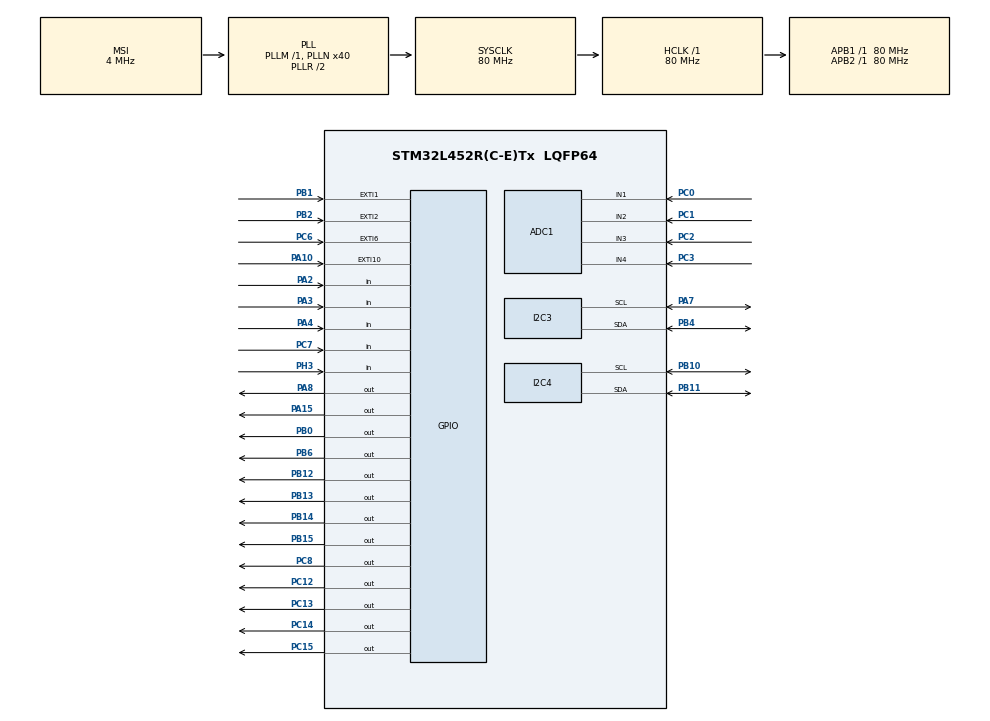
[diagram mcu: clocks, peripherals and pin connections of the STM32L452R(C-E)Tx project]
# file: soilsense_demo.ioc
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ADC1.Channel-0\#ChannelRegularConversion=ADC_CHANNEL_1
ADC1.NbrOfConversionFlag=1
ADC1.OffsetNumber-0\#ChannelRegularConversion=ADC_OFFSET_NONE
ADC1.Rank-0\#ChannelRegularConversion=1
ADC1.SamplingTime-0\#ChannelRegularConversion=ADC_SAMPLETIME_2CYCLES_5
ADC1.master=1
I2C3.Timing=0x10D19CE4
I2C4.Timing=0x10D19CE4
Mcu.Family=STM32L4
Mcu.Name=STM32L452R(C-E)Tx
Mcu.Package=LQFP64
NVIC.EXTI15_10_IRQn=true\:0\:0\:false\:false\:true\:true\:true\:true
NVIC.EXTI1_IRQn=true\:0\:0\:false\:false\:true\:true\:true\:true
NVIC.EXTI2_IRQn=true\:0\:0\:false\:false\:true\:true\:true\:true
NVIC.EXTI9_5_IRQn=true\:0\:0\:false\:false\:true\:true\:true\:true
NVIC.PriorityGroup=NVIC_PRIORITYGROUP_4
NVIC.RTC_Alarm_IRQn=true\:14\:0\:true\:false\:true\:true\:true\:true
PA0.Signal=UART4_TX
PA1.Signal=UART4_RX
PA10.Signal=GPXTI10
PA13\ (JTMS/SWDIO).Signal=SYS_JTMS-SWDIO
PA14\ (JTCK/SWCLK).Signal=SYS_JTCK-SWCLK
PA15\ (JTDI).Signal=GPIO_Output
PA2.Signal=GPIO_Input
PA3.Signal=GPIO_Input
PA4.Signal=GPIO_Input
PA7.Mode=I2C
PA7.Signal=I2C3_SCL
PA8.Signal=GPIO_Output
PB0.Signal=GPIO_Output
PB1.Signal=GPXTI1
PB10.Mode=I2C
PB10.Signal=I2C4_SCL
PB11.Mode=I2C
PB11.Signal=I2C4_SDA
PB12.Signal=GPIO_Output
PB13.Signal=GPIO_Output
PB14.Signal=GPIO_Output
PB15.Signal=GPIO_Output
PB2.Signal=GPXTI2
PB3\ (JTDO/TRACESWO).Signal=SYS_JTDO-SWO
PB4\ (NJTRST).Mode=I2C
PB4\ (NJTRST).Signal=I2C3_SDA
PB6.Signal=GPIO_Output
PC0.Signal=ADCx_IN1
PC1.Signal=ADCx_IN2
PC12.Signal=GPIO_Output
PC13.Signal=GPIO_Output
PC14-OSC32_IN\ (PC14).Signal=GPIO_Output
PC15-OSC32_OUT\ (PC15).Signal=GPIO_Output
PC2.Signal=ADCx_IN3
PC3.Signal=ADCx_IN4
PC6.Signal=GPXTI6
PC7.Signal=GPIO_Input
PC8.Signal=GPIO_Output
PH3-BOOT0\ (BOOT0).Signal=GPIO_Input
ProjectManager.HeapSize=0x200
ProjectManager.StackSize=0x400
ProjectManager.TargetToolchain=STM32CubeIDE
RCC.ADCFreq_Value=48000000
RCC.AHBFreq_Value=80000000
RCC.APB1Freq_Value=80000000
RCC.APB1TimFreq_Value=80000000
RCC.APB2Freq_Value=80000000
RCC.APB2TimFreq_Value=80000000
RCC.CortexFreq_Value=80000000
RCC.HCLKFreq_Value=80000000
RCC.HSE_VALUE=8000000
RCC.HSI48_VALUE=48000000
RCC.HSI_VALUE=16000000
RCC.LSE_VALUE=32768
RCC.MSI_VALUE=4000000
RCC.PLLN=40
RCC.PLLSAI1N=24
RCC.SYSCLKFreq_VALUE=80000000
RCC.SYSCLKSource=RCC_SYSCLKSOURCE_PLLCLK
RCC.USBFreq_Value=48000000
RCC.VCOOutputFreq_Value=160000000
RTC.Alarm-Alarm\ A=RTC_ALARM_A
RTC.Minutes_A-Alarm\ A=1
RTC.Seconds=1
SH.ADCx_IN1.0=ADC1_IN1,IN1-Single-Ended
SH.ADCx_IN2.0=ADC1_IN2,IN2-Single-Ended
SH.ADCx_IN3.0=ADC1_IN3,IN3-Single-Ended
SH.ADCx_IN4.0=ADC1_IN4,IN4-Single-Ended
VP_RTC_VS_RTC_Activate.Mode=RTC_Enabled
VP_RTC_VS_RTC_Alarm_A_Intern.Mode=Alarm A
VP_RTC_VS_RTC_Calendar.Mode=RTC_Calendar
board=custom

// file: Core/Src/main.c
/* USER CODE BEGIN Header */
/**
  ******************************************************************************
  * @file           : main.c
  * @brief          : Main program body
  ******************************************************************************
  * @attention
  *
  * Copyright (c) 2024 STMicroelectronics.
  * All rights reserved.
  *
  * This software is licensed under terms that can be found in the LICENSE file
  * in the root directory of this software component.
  * If no LICENSE file comes with this software, it is provided AS-IS.
  *
  ******************************************************************************
  */
/* USER CODE END Header */
#include "main.h"

/* USER CODE BEGIN Includes */
#include "adc.h"
#include "dht.h"
#include "light_sensor.h"
#include "moisture_sensor.h"
#include "plant_database.h"
#include "setup.h"
#include "temp_rh_sensor.h"
#include "user_interaction.h"
#include "veml7700.h"
#include "liquidcrystal_i2c.h"
#include <stdio.h>

/* USER CODE END Includes */

/* USER CODE BEGIN PD */
#define VEML7700_I2C_ADDRESS    0x10
#define SHARED_GPIO_PORT GPIOB
#define SHARED_GPIO_PIN GPIO_PIN_11

/* USER CODE END PD */

ADC_HandleTypeDef hadc1;

I2C_HandleTypeDef hi2c3;
I2C_HandleTypeDef hi2c4;

RTC_HandleTypeDef hrtc;

/* USER CODE BEGIN PV */
veml7700 veml;

/* USER CODE END PV */

void SystemClock_Config(void);
static void MX_GPIO_Init(void);
static void MX_RTC_Init(void);
static void MX_ADC1_Init(void);
static void MX_I2C3_Init(void);
static void MX_I2C4_Init(void);

/* USER CODE BEGIN 0 */
void configure_pin_as_i2c() {
  GPIO_InitTypeDef GPIO_InitStruct = {0};
  // Deinitialize GPIO

  HAL_GPIO_DeInit(SHARED_GPIO_PORT, SHARED_GPIO_PIN);
  // Configure as alternate function open-drain for I2C
  GPIO_InitStruct.Pin = GPIO_PIN_11; //or GPIO_PIN_11
  GPIO_InitStruct.Mode = GPIO_MODE_AF_OD;
  GPIO_InitStruct.Pull = GPIO_NOPULL;
  GPIO_InitStruct.Speed = GPIO_SPEED_FREQ_VERY_HIGH;
  GPIO_InitStruct.Alternate = GPIO_AF4_I2C4;
  HAL_GPIO_Init(GPIOB, &GPIO_InitStruct);
}

void configure_pin_as_gpio_input() {
  GPIO_InitTypeDef GPIO_InitStruct = {0};
  // Deinitialize I2C (if it was using the pin)
  HAL_I2C_DeInit(&hi2c4);
  GPIO_InitStruct.Pin = GPIO_PIN_11;
  GPIO_InitStruct.Mode = GPIO_MODE_INPUT;
  GPIO_InitStruct.Pull = GPIO_NOPULL;
  GPIO_InitStruct.Speed = GPIO_SPEED_FREQ_LOW;
  HAL_GPIO_Init(GPIOB, &GPIO_InitStruct);
  // You can now control the pin using HAL_GPIO_WritePin()
}

/* USER CODE END 0 */

int main(void)
{

  /* USER CODE BEGIN 1 */
	__disable_irq();
	SCB->VTOR = 0x08000000;
	__DSB();
	__enable_irq();
  /* USER CODE END 1 */

  /* MCU Configuration--------------------------------------------------------*/

  /* Reset of all peripherals, Initializes the Flash interface and the Systick. */
  HAL_Init();

  /* Configure the system clock */
  SystemClock_Config();

  /* Initialize all configured peripherals */
  MX_GPIO_Init();
  MX_RTC_Init();
  MX_ADC1_Init();
  MX_I2C3_Init();
  MX_I2C4_Init();
  /* USER CODE BEGIN 2 */
  HD44780_Init(2);
  veml7700_init(&veml, &hi2c4, VEML7700_I2C_ADDRESS);
  HAL_GPIO_WritePin(GPIOC, GPIO_PIN_8, GPIO_PIN_SET); // for now enable 5V at all times
  HAL_GPIO_WritePin(GPIOC, GPIO_PIN_13, GPIO_PIN_SET); // enable pullup for sensors
  HAL_GPIO_WritePin(GPIOC, GPIO_PIN_14, GPIO_PIN_SET); // light sensor power
  HAL_GPIO_WritePin(GPIOB, GPIO_PIN_15, GPIO_PIN_SET); // temp/rh sensor power

  if (user_selected_plant.high_temp==0)  // check if plant has been selected
  {
	  select_plant();
  }
  if (calibrated_wet_level==0) // check if moisture level calibrated
  {
	  calibrate_moisture(hadc1);
  }
  if (pot_depth==0) // check if pot depth has been selected
  {
	  select_pot_depth();
  }

  *flags[0] = 1;

  /* USER CODE END 2 */

  /* Infinite loop */
  /* USER CODE BEGIN WHILE */
  while (1)
  {
	  // TODO: first run following code to check sensor/display functionality
	  // THen uncomment block comment below to run full demo code
	  /* TODO: return functions to static in following .c files and remove from .h:
	   * light_sensor
	   * temp_rh_sensor (just array temp_1_hr)
	   * */

/*	  // press button 1 to begin
	  display_message_left("press button 1", "to begin");
	  while(!*flags[1]);
	  clear_flags();

	  // light sensor:
	  display_message_left("reading light", "sensor");
      uint16_t reading = light_i2c_read(&veml);
      uint32_t lux = convert_to_lux(reading);
      char light_buf[32];
      sprintf(light_buf, "%ld",lux);
      display_message_left("lux reading:", light_buf);
	  while(!*flags[2]) {}
	  clear_flags();

	  // moisture sensor:
	  display_message_left("reading moisture", "sensor");
      uint16_t moisture = get_moisture_value(hadc1);
      char mois_buf[16];
      sprintf(mois_buf, "%d",moisture);
      display_message_left("moisture read:", mois_buf);
	  while(!*flags[3]) {}
	  clear_flags();

	  // temp/humidity sensor:
	  display_message_left("reading temp", "sensor");
      get_temp_and_rh_value();
      uint16_t temp = temp_1_hr[0];
      char temp_buf[16];
      sprintf(temp_buf, "%d",temp);
      display_message_left("temp reading:", temp_buf);
	  while(!*flags[4]) {}
	  clear_flags();

	  display_message_left("setup check", "complete");*/

	  // CHECK SETUP
	  if(*flags[1]==1) // user-initiated recalibration
	  {
		  clear_flag(1);
		  change_setup(hadc1);
	  }

	  // OPERATION
	  if (*flags[0])  // if RTC IRQ set (every 1 minute for demo)
	  {
		  if (display_is_on) {display_message_left("checking", "environment...");}
		  //HAL_GPIO_WritePin(GPIOC, GPIO_PIN_13, GPIO_PIN_SET); // enable pullup for sensor I2C

		  // TEMP/RH
		  //HAL_GPIO_WritePin(GPIOB, GPIO_PIN_15, GPIO_PIN_SET);
		  HAL_Delay(10);
		  //configure_pin_as_gpio_input();
		  //get_temp_and_rh_value();
		  //check_temp();
		  //check_rh();
		 // HAL_GPIO_WritePin(GPIOB, GPIO_PIN_15, GPIO_PIN_RESET);

		  // LIGHT
		  // Note: for demo just checking light level on every reading
		  //HAL_GPIO_WritePin(GPIOC, GPIO_PIN_14, GPIO_PIN_SET);
		  //configure_pin_as_i2c();
		  get_light_value(veml);
		  check_light_intensity();
		  if(light_24h_counter==5) {light_24h_counter=0;}
		  else {light_24h_counter++;}
		  //HAL_GPIO_WritePin(GPIOC, GPIO_PIN_14, GPIO_PIN_RESET);
		  //HAL_GPIO_WritePin(GPIOC, GPIO_PIN_13, GPIO_PIN_RESET); // disable pullup for sensor I2C

		  // MOISTURE
		  // Note: for demo checking on every RTC trigger
		  // enable power to moisture sensors
		  // J10: ADC Channel 3 -> GPIO B13
		  // J6: ADC Channel 1 -> GPIO B14
		  //HAL_GPIO_WritePin(GPIOB, GPIO_PIN_13, GPIO_PIN_SET);
		  //HAL_GPIO_WritePin(GPIOB, GPIO_PIN_14, GPIO_PIN_SET);
		  get_moisture_value(hadc1);
		  check_moisture_level();
		  // disable power to moisture sensors
		  //HAL_GPIO_WritePin(GPIOB, GPIO_PIN_13, GPIO_PIN_RESET);
		  //HAL_GPIO_WritePin(GPIOB, GPIO_PIN_14, GPIO_PIN_RESET);
		  new_data = 1;
		  clear_flag(0);
	  }

	  if(*flags[3]==1) // turn screen on/off
	  {
		  clear_flag(3);
		  display_toggle();
	  }

	  if (display_is_on)
	  {
		  HAL_GPIO_WritePin(GPIOC, GPIO_PIN_15, GPIO_PIN_RESET);
		  if (new_data){
			  count_alerts();
			  show_alerts(hadc1);
			  new_data = 0;}
		  if (alerts_set==0) {display_message_left("no alerts", "for now :)");}
	  }
	  else if (new_data)
	  {
		  count_alerts();
		  if (alerts_set!=0)
		  	  {HAL_GPIO_WritePin(GPIOC, GPIO_PIN_15, GPIO_PIN_SET);}
	  }
	  else {
		  HAL_GPIO_WritePin(GPIOC, GPIO_PIN_15, GPIO_PIN_RESET);
	  }

    /* USER CODE END WHILE */

  }
}

void SystemClock_Config(void)
{
  RCC_OscInitTypeDef RCC_OscInitStruct = {0};
  RCC_ClkInitTypeDef RCC_ClkInitStruct = {0};

  /** Configure the main internal regulator output voltage
  */
  if (HAL_PWREx_ControlVoltageScaling(PWR_REGULATOR_VOLTAGE_SCALE1) != HAL_OK)
  {
    Error_Handler();
  }

  /** Initializes the RCC Oscillators according to the specified parameters
  * in the RCC_OscInitTypeDef structure.
  */
  RCC_OscInitStruct.OscillatorType = RCC_OSCILLATORTYPE_LSI|RCC_OSCILLATORTYPE_MSI;
  RCC_OscInitStruct.LSIState = RCC_LSI_ON;
  RCC_OscInitStruct.MSIState = RCC_MSI_ON;
  RCC_OscInitStruct.MSICalibrationValue = 0;
  RCC_OscInitStruct.MSIClockRange = RCC_MSIRANGE_6;
  RCC_OscInitStruct.PLL.PLLState = RCC_PLL_ON;
  RCC_OscInitStruct.PLL.PLLSource = RCC_PLLSOURCE_MSI;
  RCC_OscInitStruct.PLL.PLLM = 1;
  RCC_OscInitStruct.PLL.PLLN = 40;
  RCC_OscInitStruct.PLL.PLLP = RCC_PLLP_DIV7;
  RCC_OscInitStruct.PLL.PLLQ = RCC_PLLQ_DIV2;
  RCC_OscInitStruct.PLL.PLLR = RCC_PLLR_DIV2;
  if (HAL_RCC_OscConfig(&RCC_OscInitStruct) != HAL_OK)
  {
    Error_Handler();
  }

  /** Initializes the CPU, AHB and APB buses clocks
  */
  RCC_ClkInitStruct.ClockType = RCC_CLOCKTYPE_HCLK|RCC_CLOCKTYPE_SYSCLK
                              |RCC_CLOCKTYPE_PCLK1|RCC_CLOCKTYPE_PCLK2;
  RCC_ClkInitStruct.SYSCLKSource = RCC_SYSCLKSOURCE_PLLCLK;
  RCC_ClkInitStruct.AHBCLKDivider = RCC_SYSCLK_DIV1;
  RCC_ClkInitStruct.APB1CLKDivider = RCC_HCLK_DIV1;
  RCC_ClkInitStruct.APB2CLKDivider = RCC_HCLK_DIV1;

  if (HAL_RCC_ClockConfig(&RCC_ClkInitStruct, FLASH_LATENCY_4) != HAL_OK)
  {
    Error_Handler();
  }
}

static void MX_ADC1_Init(void)
{

  ADC_ChannelConfTypeDef sConfig = {0};

  /** Common config
  */
  hadc1.Instance = ADC1;
  hadc1.Init.ClockPrescaler = ADC_CLOCK_ASYNC_DIV1;
  hadc1.Init.Resolution = ADC_RESOLUTION_12B;
  hadc1.Init.DataAlign = ADC_DATAALIGN_RIGHT;
  hadc1.Init.ScanConvMode = ADC_SCAN_DISABLE;
  hadc1.Init.EOCSelection = ADC_EOC_SINGLE_CONV;
  hadc1.Init.LowPowerAutoWait = DISABLE;
  hadc1.Init.ContinuousConvMode = DISABLE;
  hadc1.Init.NbrOfConversion = 1;
  hadc1.Init.DiscontinuousConvMode = DISABLE;
  hadc1.Init.ExternalTrigConv = ADC_SOFTWARE_START;
  hadc1.Init.ExternalTrigConvEdge = ADC_EXTERNALTRIGCONVEDGE_NONE;
  hadc1.Init.DMAContinuousRequests = DISABLE;
  hadc1.Init.Overrun = ADC_OVR_DATA_PRESERVED;
  hadc1.Init.OversamplingMode = DISABLE;
  if (HAL_ADC_Init(&hadc1) != HAL_OK)
  {
    Error_Handler();
  }

  /** Configure Regular Channel
  */
  sConfig.Channel = ADC_CHANNEL_1;
  sConfig.Rank = ADC_REGULAR_RANK_1;
  sConfig.SamplingTime = ADC_SAMPLETIME_2CYCLES_5;
  sConfig.SingleDiff = ADC_SINGLE_ENDED;
  sConfig.OffsetNumber = ADC_OFFSET_NONE;
  sConfig.Offset = 0;
  if (HAL_ADC_ConfigChannel(&hadc1, &sConfig) != HAL_OK)
  {
    Error_Handler();
  }

}

static void MX_I2C3_Init(void)
{

  hi2c3.Instance = I2C3;
  hi2c3.Init.Timing = 0x10D19CE4;
  hi2c3.Init.OwnAddress1 = 0;
  hi2c3.Init.AddressingMode = I2C_ADDRESSINGMODE_7BIT;
  hi2c3.Init.DualAddressMode = I2C_DUALADDRESS_DISABLE;
  hi2c3.Init.OwnAddress2 = 0;
  hi2c3.Init.OwnAddress2Masks = I2C_OA2_NOMASK;
  hi2c3.Init.GeneralCallMode = I2C_GENERALCALL_DISABLE;
  hi2c3.Init.NoStretchMode = I2C_NOSTRETCH_DISABLE;
  if (HAL_I2C_Init(&hi2c3) != HAL_OK)
  {
    Error_Handler();
  }

  /** Configure Analogue filter
  */
  if (HAL_I2CEx_ConfigAnalogFilter(&hi2c3, I2C_ANALOGFILTER_ENABLE) != HAL_OK)
  {
    Error_Handler();
  }

  /** Configure Digital filter
  */
  if (HAL_I2CEx_ConfigDigitalFilter(&hi2c3, 0) != HAL_OK)
  {
    Error_Handler();
  }

}

static void MX_I2C4_Init(void)
{

  hi2c4.Instance = I2C4;
  hi2c4.Init.Timing = 0x10D19CE4;
  hi2c4.Init.OwnAddress1 = 0;
  hi2c4.Init.AddressingMode = I2C_ADDRESSINGMODE_7BIT;
  hi2c4.Init.DualAddressMode = I2C_DUALADDRESS_DISABLE;
  hi2c4.Init.OwnAddress2 = 0;
  hi2c4.Init.OwnAddress2Masks = I2C_OA2_NOMASK;
  hi2c4.Init.GeneralCallMode = I2C_GENERALCALL_DISABLE;
  hi2c4.Init.NoStretchMode = I2C_NOSTRETCH_DISABLE;
  if (HAL_I2C_Init(&hi2c4) != HAL_OK)
  {
    Error_Handler();
  }

  /** Configure Analogue filter
  */
  if (HAL_I2CEx_ConfigAnalogFilter(&hi2c4, I2C_ANALOGFILTER_ENABLE) != HAL_OK)
  {
    Error_Handler();
  }

  /** Configure Digital filter
  */
  if (HAL_I2CEx_ConfigDigitalFilter(&hi2c4, 0) != HAL_OK)
  {
    Error_Handler();
  }

}

static void MX_RTC_Init(void)
{

  RTC_TimeTypeDef sTime = {0};
  RTC_DateTypeDef sDate = {0};
  RTC_AlarmTypeDef sAlarm = {0};

  /** Initialize RTC Only
  */
  hrtc.Instance = RTC;
  hrtc.Init.HourFormat = RTC_HOURFORMAT_24;
  hrtc.Init.AsynchPrediv = 127;
  hrtc.Init.SynchPrediv = 255;
  hrtc.Init.OutPut = RTC_OUTPUT_DISABLE;
  hrtc.Init.OutPutRemap = RTC_OUTPUT_REMAP_NONE;
  hrtc.Init.OutPutPolarity = RTC_OUTPUT_POLARITY_HIGH;
  hrtc.Init.OutPutType = RTC_OUTPUT_TYPE_OPENDRAIN;
  if (HAL_RTC_Init(&hrtc) != HAL_OK)
  {
    Error_Handler();
  }

  /** Initialize RTC and set the Time and Date
  */
  sTime.Hours = 0x0;
  sTime.Minutes = 0x0;
  sTime.Seconds = 0x1;
  sTime.DayLightSaving = RTC_DAYLIGHTSAVING_NONE;
  sTime.StoreOperation = RTC_STOREOPERATION_RESET;
  if (HAL_RTC_SetTime(&hrtc, &sTime, RTC_FORMAT_BCD) != HAL_OK)
  {
    Error_Handler();
  }
  sDate.WeekDay = RTC_WEEKDAY_MONDAY;
  sDate.Month = RTC_MONTH_JANUARY;
  sDate.Date = 0x1;
  sDate.Year = 0x0;

  if (HAL_RTC_SetDate(&hrtc, &sDate, RTC_FORMAT_BCD) != HAL_OK)
  {
    Error_Handler();
  }

  /** Enable the Alarm A
  */
  sAlarm.AlarmTime.Hours = 0x0;
  sAlarm.AlarmTime.Minutes = 0x1;
  sAlarm.AlarmTime.Seconds = 0x0;
  sAlarm.AlarmTime.SubSeconds = 0x0;
  sAlarm.AlarmTime.DayLightSaving = RTC_DAYLIGHTSAVING_NONE;
  sAlarm.AlarmTime.StoreOperation = RTC_STOREOPERATION_RESET;
  sAlarm.AlarmMask = RTC_ALARMMASK_NONE;
  sAlarm.AlarmSubSecondMask = RTC_ALARMSUBSECONDMASK_ALL;
  sAlarm.AlarmDateWeekDaySel = RTC_ALARMDATEWEEKDAYSEL_DATE;
  sAlarm.AlarmDateWeekDay = 0x1;
  sAlarm.Alarm = RTC_ALARM_A;
  if (HAL_RTC_SetAlarm_IT(&hrtc, &sAlarm, RTC_FORMAT_BCD) != HAL_OK)
  {
    Error_Handler();
  }

}

static void MX_GPIO_Init(void)
{
  GPIO_InitTypeDef GPIO_InitStruct = {0};

  /* GPIO Ports Clock Enable */
  __HAL_RCC_GPIOC_CLK_ENABLE();
  __HAL_RCC_GPIOA_CLK_ENABLE();
  __HAL_RCC_GPIOB_CLK_ENABLE();
  __HAL_RCC_GPIOH_CLK_ENABLE();

  /*Configure GPIO pin Output Level */
  HAL_GPIO_WritePin(GPIOC, GPIO_PIN_13|GPIO_PIN_14|GPIO_PIN_15|GPIO_PIN_8
                          |GPIO_PIN_12, GPIO_PIN_RESET);

  /*Configure GPIO pin Output Level */
  HAL_GPIO_WritePin(GPIOB, GPIO_PIN_0|GPIO_PIN_12|GPIO_PIN_13|GPIO_PIN_14
                          |GPIO_PIN_15|GPIO_PIN_6, GPIO_PIN_RESET);

  /*Configure GPIO pin Output Level */
  HAL_GPIO_WritePin(GPIOA, GPIO_PIN_8|GPIO_PIN_15, GPIO_PIN_RESET);

  /*Configure GPIO pins : PC13 PC14 PC15 PC8
                           PC12 */
  GPIO_InitStruct.Pin = GPIO_PIN_13|GPIO_PIN_14|GPIO_PIN_15|GPIO_PIN_8
                          |GPIO_PIN_12;
  GPIO_InitStruct.Mode = GPIO_MODE_OUTPUT_PP;
  GPIO_InitStruct.Pull = GPIO_NOPULL;
  GPIO_InitStruct.Speed = GPIO_SPEED_FREQ_LOW;
  HAL_GPIO_Init(GPIOC, &GPIO_InitStruct);

  /*Configure GPIO pins : PA0 PA1 */
  GPIO_InitStruct.Pin = GPIO_PIN_0|GPIO_PIN_1;
  GPIO_InitStruct.Mode = GPIO_MODE_AF_PP;
  GPIO_InitStruct.Pull = GPIO_NOPULL;
  GPIO_InitStruct.Speed = GPIO_SPEED_FREQ_VERY_HIGH;
  GPIO_InitStruct.Alternate = GPIO_AF8_UART4;
  HAL_GPIO_Init(GPIOA, &GPIO_InitStruct);

  /*Configure GPIO pins : PA2 PA3 PA4 */
  GPIO_InitStruct.Pin = GPIO_PIN_2|GPIO_PIN_3|GPIO_PIN_4;
  GPIO_InitStruct.Mode = GPIO_MODE_INPUT;
  GPIO_InitStruct.Pull = GPIO_NOPULL;
  HAL_GPIO_Init(GPIOA, &GPIO_InitStruct);

  /*Configure GPIO pins : PB0 PB12 PB13 PB14
                           PB15 PB6 */
  GPIO_InitStruct.Pin = GPIO_PIN_0|GPIO_PIN_12|GPIO_PIN_13|GPIO_PIN_14
                          |GPIO_PIN_15|GPIO_PIN_6;
  GPIO_InitStruct.Mode = GPIO_MODE_OUTPUT_PP;
  GPIO_InitStruct.Pull = GPIO_NOPULL;
  GPIO_InitStruct.Speed = GPIO_SPEED_FREQ_LOW;
  HAL_GPIO_Init(GPIOB, &GPIO_InitStruct);

  /*Configure GPIO pins : PB1 PB2 */
  GPIO_InitStruct.Pin = GPIO_PIN_1|GPIO_PIN_2;
  GPIO_InitStruct.Mode = GPIO_MODE_IT_RISING;
  GPIO_InitStruct.Pull = GPIO_NOPULL;
  HAL_GPIO_Init(GPIOB, &GPIO_InitStruct);

  /*Configure GPIO pin : PC6 */
  GPIO_InitStruct.Pin = GPIO_PIN_6;
  GPIO_InitStruct.Mode = GPIO_MODE_IT_RISING;
  GPIO_InitStruct.Pull = GPIO_NOPULL;
  HAL_GPIO_Init(GPIOC, &GPIO_InitStruct);

  /*Configure GPIO pin : PC7 */
  GPIO_InitStruct.Pin = GPIO_PIN_7;
  GPIO_InitStruct.Mode = GPIO_MODE_INPUT;
  GPIO_InitStruct.Pull = GPIO_NOPULL;
  HAL_GPIO_Init(GPIOC, &GPIO_InitStruct);

  /*Configure GPIO pins : PA8 PA15 */
  GPIO_InitStruct.Pin = GPIO_PIN_8|GPIO_PIN_15;
  GPIO_InitStruct.Mode = GPIO_MODE_OUTPUT_PP;
  GPIO_InitStruct.Pull = GPIO_NOPULL;
  GPIO_InitStruct.Speed = GPIO_SPEED_FREQ_LOW;
  HAL_GPIO_Init(GPIOA, &GPIO_InitStruct);

  /*Configure GPIO pin : PA10 */
  GPIO_InitStruct.Pin = GPIO_PIN_10;
  GPIO_InitStruct.Mode = GPIO_MODE_IT_RISING;
  GPIO_InitStruct.Pull = GPIO_NOPULL;
  HAL_GPIO_Init(GPIOA, &GPIO_InitStruct);

  /*Configure GPIO pin : PH3 */
  GPIO_InitStruct.Pin = GPIO_PIN_3;
  GPIO_InitStruct.Mode = GPIO_MODE_INPUT;
  GPIO_InitStruct.Pull = GPIO_NOPULL;
  HAL_GPIO_Init(GPIOH, &GPIO_InitStruct);

  /* EXTI interrupt init*/
  HAL_NVIC_SetPriority(EXTI1_IRQn, 0, 0);
  HAL_NVIC_EnableIRQ(EXTI1_IRQn);

  HAL_NVIC_SetPriority(EXTI2_IRQn, 0, 0);
  HAL_NVIC_EnableIRQ(EXTI2_IRQn);

  HAL_NVIC_SetPriority(EXTI9_5_IRQn, 0, 0);
  HAL_NVIC_EnableIRQ(EXTI9_5_IRQn);

  HAL_NVIC_SetPriority(EXTI15_10_IRQn, 0, 0);
  HAL_NVIC_EnableIRQ(EXTI15_10_IRQn);

}

/* USER CODE BEGIN 4 */
void HAL_GPIO_EXTI_Callback(uint16_t GPIO_Pin)

{
	static uint32_t last_interrupt_time = 0;
	uint32_t current_time = HAL_GetTick();
	if (current_time - last_interrupt_time < 200)
	{
		return;
	}
	last_interrupt_time = current_time;

	if(GPIO_Pin == GPIO_PIN_6)
	{
		toggle_flag(1);
	}
	else if(GPIO_Pin == GPIO_PIN_10)
	{
		toggle_flag(2);
	}
	else if(GPIO_Pin == GPIO_PIN_1)
	{
		toggle_flag(3);
	}
	else if(GPIO_Pin == GPIO_PIN_2)
	{
		toggle_flag(4);
	}
}

// TODO: update this with correct timing for demo
void HAL_RTC_AlarmAEventCallback(RTC_HandleTypeDef *hrtc) {
  RTC_AlarmTypeDef sAlarm;
  HAL_RTC_GetAlarm(hrtc,&sAlarm,RTC_ALARM_A,FORMAT_BIN);
  if(sAlarm.AlarmTime.Minutes>58) {
    sAlarm.AlarmTime.Minutes=0;
  }else{
    sAlarm.AlarmTime.Minutes=sAlarm.AlarmTime.Minutes+1;
  }
    while(HAL_RTC_SetAlarm_IT(hrtc, &sAlarm, FORMAT_BIN)!=HAL_OK){}
    toggle_flag(0);
}

/* USER CODE END 4 */

void Error_Handler(void)
{
  __disable_irq();
  while (1)
  {
  }
}
